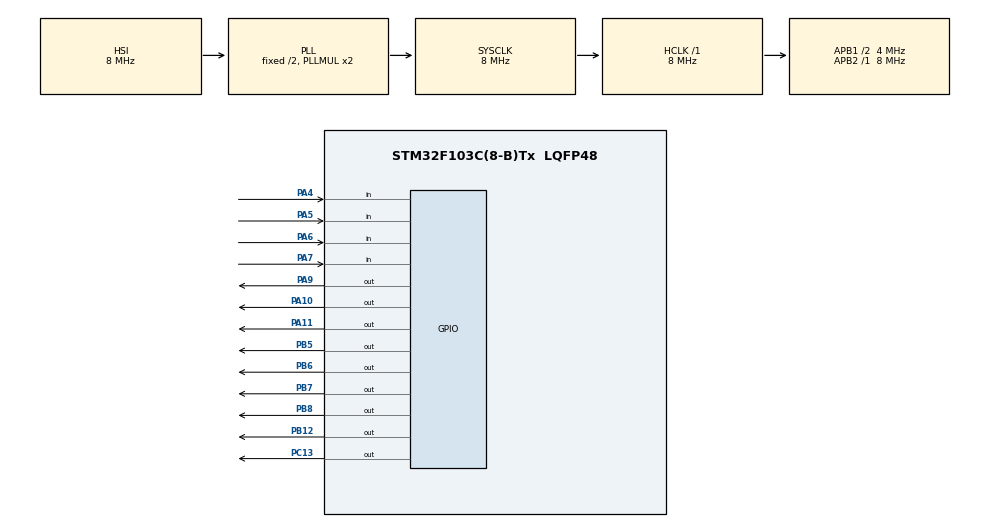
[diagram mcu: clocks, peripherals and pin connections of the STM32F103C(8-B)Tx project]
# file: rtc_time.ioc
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Mcu.Family=STM32F1
Mcu.Name=STM32F103C(8-B)Tx
Mcu.Package=LQFP48
NVIC.PriorityGroup=NVIC_PRIORITYGROUP_4
PA10.Signal=GPIO_Output
PA11.Signal=GPIO_Output
PA13.Mode=Serial_Wire
PA13.Signal=SYS_JTMS-SWDIO
PA14.Mode=Serial_Wire
PA14.Signal=SYS_JTCK-SWCLK
PA4.Signal=GPIO_Input
PA5.Signal=GPIO_Input
PA6.Signal=GPIO_Input
PA7.Signal=GPIO_Input
PA9.Signal=GPIO_Output
PB12.Signal=GPIO_Output
PB5.Signal=GPIO_Output
PB6.Signal=GPIO_Output
PB7.Signal=GPIO_Output
PB8.Signal=GPIO_Output
PC13-TAMPER-RTC.Signal=GPIO_Output
ProjectManager.HeapSize=0x200
ProjectManager.StackSize=0x400
ProjectManager.TargetToolchain=MDK-ARM V5.32
RCC.AHBFreq_Value=8000000
RCC.APB1CLKDivider=RCC_HCLK_DIV2
RCC.APB1Freq_Value=4000000
RCC.APB1TimFreq_Value=8000000
RCC.APB2Freq_Value=8000000
RCC.APB2TimFreq_Value=8000000
RCC.HCLKFreq_Value=8000000
RCC.SYSCLKFreq_VALUE=8000000
RCC.SYSCLKSource=RCC_SYSCLKSOURCE_PLLCLK
RCC.USBFreq_Value=8000000
VP_RTC_VS_RTC_Activate.Mode=RTC_Enabled
VP_RTC_VS_RTC_Calendar.Mode=RTC_Calendar
board=custom

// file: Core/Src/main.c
/* USER CODE BEGIN Header */
/**
  ******************************************************************************
  * @file           : main.c
  * @brief          : Main program body
  ******************************************************************************
  * @attention
  *
  * Copyright (c) 2023 STMicroelectronics.
  * All rights reserved.
  *
  * This software is licensed under terms that can be found in the LICENSE file
  * in the root directory of this software component.
  * If no LICENSE file comes with this software, it is provided AS-IS.
  *
  ******************************************************************************
  */
/* USER CODE END Header */
#include "main.h"

/* USER CODE BEGIN Includes */
#include "lcd_16x2.h"
//#include "string.h"
/* USER CODE END Includes */

RTC_HandleTypeDef hrtc;

/* USER CODE BEGIN PV */
RTC_TimeTypeDef sTime;
RTC_DateTypeDef sDate;
RTC_AlarmTypeDef sAlarm;

/* USER CODE END PV */

void SystemClock_Config(void);
static void MX_GPIO_Init(void);
static void MX_RTC_Init(void);

/* USER CODE BEGIN 0 */
	uint8_t alarm_en = 0;
	uint8_t alarm_hour = 12;
	uint8_t alarm_minute = 0;

/* USER CODE END 0 */

int main(void)
{
  /* USER CODE BEGIN 1 */
	sTime.Hours = 9;
	sTime.Minutes = 30;
	sTime.Seconds = 0;

	sDate.Date = 19;
	sDate.Month = 3;
	sDate.Year = 23;

	uint8_t mode = 0;
	uint8_t sb;
	uint8_t CurrYear = 20;

  /* USER CODE END 1 */

  /* MCU Configuration--------------------------------------------------------*/

  /* Reset of all peripherals, Initializes the Flash interface and the Systick. */
  HAL_Init();

  /* USER CODE BEGIN Init */
	Lcd_Init();
  /* USER CODE END Init */

  /* Configure the system clock */
  SystemClock_Config();

  /* Initialize all configured peripherals */
  MX_GPIO_Init();
  MX_RTC_Init();
  /* USER CODE BEGIN 2 */
	HAL_RTC_SetTime(&hrtc, &sTime, RTC_FORMAT_BIN);
	HAL_RTC_SetDate(&hrtc, &sDate, RTC_FORMAT_BIN);

  /* USER CODE END 2 */

  /* Infinite loop */
  /* USER CODE BEGIN WHILE */
	uint8_t MODE = 0;
	uint8_t UP = 0;
	uint8_t DOWN = 0;
	uint8_t OK = 0;
  while (1)
  {
		MODE = HAL_GPIO_ReadPin(GPIOA, GPIO_PIN_7);
		UP = HAL_GPIO_ReadPin(GPIOA, GPIO_PIN_6);
		DOWN = HAL_GPIO_ReadPin(GPIOA, GPIO_PIN_5);
		OK = HAL_GPIO_ReadPin(GPIOA, GPIO_PIN_4);
		//kiem tra trang thai chan MODE

		if (MODE == 1 && sb==0){ //chon che do
			if (mode == 9){
				mode = 0;
			}
			else {
				mode++;
			}
			sb = 1; //bao co phim nhan
			Lcd_clear_display();
	}
		//che do hien thi thong tin de tai
		if(mode == 0){

			Lcd_gotoxy(0,0);
			Lcd_write_string("DONG HO VAN NIEN");
			Lcd_gotoxy(4,1);
			Lcd_write_string("NHOM 14");
			HAL_Delay(1000);
			sb = 0;
			Lcd_clear_display();
			mode = 1;
		}
    /* USER CODE END WHILE */

    /* USER CODE BEGIN 3 */

		if(mode==1){
			if(alarm_en == 1) Lcd_write_string("*");
			Lcd_gotoxy(4,0);
			HAL_RTC_GetTime(&hrtc, &sTime, RTC_FORMAT_BIN);
			Lcd_write_int(sTime.Hours);
			Lcd_write_string(":");
			Lcd_write_int(sTime.Minutes);
			Lcd_write_string(":");
			Lcd_write_int(sTime.Seconds);
			Lcd_write_string(" ");

			Lcd_gotoxy(0,1);
			switch(sDate.WeekDay){
				case 1: Lcd_write_string("MON");
								break;
				case 2: Lcd_write_string("TUE");
								break;
				case 3: Lcd_write_string("WEN");
								break;
				case 4: Lcd_write_string("THU");
								break;
				case 5: Lcd_write_string("FRI");
								break;
				case 6: Lcd_write_string("SAT");
								break;
				case 0: Lcd_write_string("SUN");
								break;
				}

			Lcd_gotoxy(6,1);
			if(sDate.Date >9) Lcd_write_int(sDate.Date);
			else{
				Lcd_write_int(0);
				Lcd_write_int(sDate.Date);
			}
			Lcd_write_string("-");
			if(sDate.Month >9) Lcd_write_int(sDate.Month);
			else{
				Lcd_write_int(0);
				Lcd_write_int(sDate.Month);
			}
			Lcd_write_string("-");
			Lcd_write_int(CurrYear);
			Lcd_write_int(sDate.Year);
			Lcd_write_string(" ");

			HAL_Delay(100);
			sb = 0;
		}

		//che do chinh gio trong hen gio
		if(mode == 2){
			Lcd_gotoxy(0,0);
			Lcd_write_string("Alarm Hour: ");
			if(alarm_hour < 10){
				Lcd_write_int(0);
				Lcd_write_int(alarm_hour);
			}
			else Lcd_write_int(alarm_hour);
			HAL_Delay(200);
			if (UP == 1 && sb == 0){
				if (alarm_hour == 23) alarm_hour = 0;
				else alarm_hour++;
				sb = 1;
			}
			if (DOWN == 1 && sb == 0){
				if (alarm_hour == 0) alarm_hour = 23;
				else alarm_hour--;
				sb = 1;
			}

			else if(OK == 1 && sb == 0){
				Lcd_clear_display();
				sb = 1;
			}
		}

		//che do chinh phut trong hen gio
		if(mode == 3){
			Lcd_gotoxy(0,0);
			Lcd_write_string("Alarm Minute: ");
			if(alarm_minute < 10){
				Lcd_write_int(0);
				Lcd_write_int(alarm_minute);
			}
			else Lcd_write_int(alarm_minute);
			HAL_Delay(200);
			if (UP == 1 && sb == 0){
				if (alarm_minute == 59) alarm_minute = 0;
				else alarm_minute++;
				sb = 1;
			}
			if (DOWN == 1 && sb == 0){
				if (alarm_minute == 0) alarm_minute = 59;
				else alarm_minute--;
			sb = 1;
			}

			if(OK == 1){
				if(alarm_en == 1) alarm_en = 0;
				else alarm_en = 1;
				Lcd_clear_display();
				mode = 1;
				sb = 1;
			}

		}

		//kiem tra gio bao thuc
		if(alarm_en == 1){
			if(alarm_hour == sTime.Hours && alarm_minute == sTime.Minutes){
			Lcd_clear_display();
			Lcd_gotoxy(3,0);
			Lcd_write_string("WARNING!!!");
			for(uint8_t i = 30; i > 0; i--){
				HAL_GPIO_TogglePin(GPIOB, GPIO_PIN_12);
				HAL_Delay(40);
				HAL_GPIO_TogglePin(GPIOB, GPIO_PIN_12);
				HAL_Delay(20);
				HAL_GPIO_TogglePin(GPIOB, GPIO_PIN_12);
				HAL_Delay(40);
				HAL_GPIO_TogglePin(GPIOB, GPIO_PIN_12);
				HAL_Delay(300);
				if(OK == 1){
					alarm_en = 0;
					Lcd_clear_display();
					sb = 0;
					break;
				}
			}
		}
	}
		if(mode == 4){
			Lcd_gotoxy(0,0);
			Lcd_write_string("Set Hour: ");
			if(sTime.Hours < 10){
				Lcd_write_int(0);
				Lcd_write_int(sTime.Hours);
			}
			else Lcd_write_int(sTime.Hours);
			sb = 0;
			HAL_Delay(100);

			if (UP == 1 && sb == 0){ //Phim UP duoc nhan
				if (sTime.Hours == 23) sTime.Hours = 0;
				else sTime.Hours++;
				HAL_RTC_SetTime(&hrtc, &sTime, RTC_FORMAT_BIN);
				sb = 1;
			}

			if (DOWN == 1 && sb == 0){ //Phim DOWN duoc nhan
				if (sTime.Hours == 0) sTime.Hours = 23;
				else sTime.Hours--;
				HAL_RTC_SetTime(&hrtc, &sTime, RTC_FORMAT_BIN);
				sb = 1;
			}
			if(OK == 1 && sb == 0){
				Lcd_clear_display();
				mode = 1;
			}
		}
		//che do chinh phut
		if(mode == 5){
			Lcd_gotoxy(0,0);
			Lcd_write_string("Set Minutes: ");
			if(sTime.Minutes < 10){
				Lcd_write_int(0);
				Lcd_write_int(sTime.Minutes);
			}
			else Lcd_write_int(sTime.Minutes);
			sb = 0;
			HAL_Delay(200);
			//status_button(MODE, UP, DOWN, OK, sb);

			if (UP == 1 && sb == 0){ //Phim UP duoc nhan
				if (sTime.Minutes == 59) sTime.Minutes = 0;
				else sTime.Minutes++;
				HAL_RTC_SetTime(&hrtc, &sTime, RTC_FORMAT_BIN);
				sb = 1;
			}

			if (DOWN == 1 && sb == 0){ //Phim DOWN duoc nhan
				if (sTime.Minutes == 0) sTime.Minutes = 59;
				else sTime.Minutes--;
				HAL_RTC_SetTime(&hrtc, &sTime, RTC_FORMAT_BIN);
				sb = 1;
			}
			if(OK == 1 && sb == 0){
				Lcd_clear_display();
				mode = 1;
			}
		}
		//che do chinh ngay
		if(mode == 6){
			Lcd_gotoxy(0,0);
			Lcd_write_string("Set Date: ");
			if(sDate.Date < 10){
				Lcd_write_int(0);
				Lcd_write_int(sDate.Date);
			}
			else Lcd_write_int(sDate.Date);
			Lcd_write_string("   ");
			sb = 0;
			HAL_Delay(200);
			//status_button(MODE, UP, DOWN, OK, sb);

			if (UP == 1 && sb == 0){ //Phim UP duoc nhan
				if (sDate.Date == 32) sDate.Date = 1;
				else sDate.Date++;
				HAL_RTC_SetDate(&hrtc, &sDate, RTC_FORMAT_BIN);
				sb = 1;
			}

			if (DOWN == 1 && sb == 0){ //Phim DOWN duoc nhan
				if (sDate.Date == 0) sDate.Date = 31;
				else sDate.Date--;
				HAL_RTC_SetDate(&hrtc, &sDate, RTC_FORMAT_BIN);
				sb = 1;
			}
			if(OK == 1 && sb == 0){
				Lcd_clear_display();
				mode = 1;
			}
		}

		//che do chinh thang
		if(mode == 7){
			Lcd_gotoxy(0,0);
			Lcd_write_string("Set Month: ");
			if(sDate.Month < 10){
				Lcd_write_int(0);
				Lcd_write_int(sDate.Month);
			}
			else Lcd_write_int(sDate.Month);
			sb = 0;
			HAL_Delay(200);
			//status_button(MODE, UP, DOWN, OK, sb);

			if (UP == 1 && sb == 0){ //Phim UP duoc nhan
				if (sDate.Month == 12) sDate.Month = 1;
				else sDate.Month++;
				HAL_RTC_SetDate(&hrtc, &sDate, RTC_FORMAT_BIN);
				sb = 1;
			}

			if (DOWN == 1 && sb == 0){ //Phim DOWN duoc nhan
				if (sDate.Month == 1) sDate.Month = 12;
				else sDate.Month--;
				HAL_RTC_SetDate(&hrtc, &sDate, RTC_FORMAT_BIN);
				sb = 1;
			}
			if(OK == 1 && sb == 0){
				Lcd_clear_display();
				mode = 1;
			}
		}

		//CHE DO CHINH NAM
		if(mode == 8){
			Lcd_gotoxy(0,0);
			Lcd_write_string("Set Year: ");
			Lcd_write_int(sDate.Year);
			sb = 0;
			HAL_Delay(200);
			//status_button(MODE, UP, DOWN, OK, sb);

			if (UP == 1 && sb == 0){ //Phim UP duoc nhan
				if (sDate.Year == 99){
					sDate.Year = 0;
					CurrYear++;
				}
				else sDate.Year++;
				HAL_RTC_SetDate(&hrtc, &sDate, RTC_FORMAT_BIN);
				sb = 1;
			}

			if (DOWN == 1 && sb == 0){ //Phim DOWN duoc nhan
				if (sDate.Year == 0){
					sDate.Year = 99;
					CurrYear--;
				}
				else sDate.Year--;
				HAL_RTC_SetDate(&hrtc, &sDate, RTC_FORMAT_BIN);
				sb = 1;
			}
			if(OK == 1 && sb == 0){
				Lcd_clear_display();
				mode = 1;
			}
		}
		sb = 0;
	}
  /* USER CODE END 3 */
}

void SystemClock_Config(void)
{
  RCC_OscInitTypeDef RCC_OscInitStruct = {0};
  RCC_ClkInitTypeDef RCC_ClkInitStruct = {0};
  RCC_PeriphCLKInitTypeDef PeriphClkInit = {0};

  /** Initializes the RCC Oscillators according to the specified parameters
  * in the RCC_OscInitTypeDef structure.
  */
  RCC_OscInitStruct.OscillatorType = RCC_OSCILLATORTYPE_HSI|RCC_OSCILLATORTYPE_LSI;
  RCC_OscInitStruct.HSIState = RCC_HSI_ON;
  RCC_OscInitStruct.HSICalibrationValue = RCC_HSICALIBRATION_DEFAULT;
  RCC_OscInitStruct.LSIState = RCC_LSI_ON;
  RCC_OscInitStruct.PLL.PLLState = RCC_PLL_ON;
  RCC_OscInitStruct.PLL.PLLSource = RCC_PLLSOURCE_HSI_DIV2;
  RCC_OscInitStruct.PLL.PLLMUL = RCC_PLL_MUL2;
  if (HAL_RCC_OscConfig(&RCC_OscInitStruct) != HAL_OK)
  {
    Error_Handler();
  }

  /** Initializes the CPU, AHB and APB buses clocks
  */
  RCC_ClkInitStruct.ClockType = RCC_CLOCKTYPE_HCLK|RCC_CLOCKTYPE_SYSCLK
                              |RCC_CLOCKTYPE_PCLK1|RCC_CLOCKTYPE_PCLK2;
  RCC_ClkInitStruct.SYSCLKSource = RCC_SYSCLKSOURCE_PLLCLK;
  RCC_ClkInitStruct.AHBCLKDivider = RCC_SYSCLK_DIV1;
  RCC_ClkInitStruct.APB1CLKDivider = RCC_HCLK_DIV2;
  RCC_ClkInitStruct.APB2CLKDivider = RCC_HCLK_DIV1;

  if (HAL_RCC_ClockConfig(&RCC_ClkInitStruct, FLASH_LATENCY_0) != HAL_OK)
  {
    Error_Handler();
  }
  PeriphClkInit.PeriphClockSelection = RCC_PERIPHCLK_RTC;
  PeriphClkInit.RTCClockSelection = RCC_RTCCLKSOURCE_LSI;
  if (HAL_RCCEx_PeriphCLKConfig(&PeriphClkInit) != HAL_OK)
  {
    Error_Handler();
  }
}

static void MX_RTC_Init(void)
{

  RTC_TimeTypeDef sTime = {0};
  RTC_DateTypeDef DateToUpdate = {0};

  /** Initialize RTC Only
  */
  hrtc.Instance = RTC;
  hrtc.Init.AsynchPrediv = RTC_AUTO_1_SECOND;
  hrtc.Init.OutPut = RTC_OUTPUTSOURCE_ALARM;
  if (HAL_RTC_Init(&hrtc) != HAL_OK)
  {
    Error_Handler();
  }

  /** Initialize RTC and set the Time and Date
  */
  sTime.Hours = 0x0;
  sTime.Minutes = 0x0;
  sTime.Seconds = 0x0;

  if (HAL_RTC_SetTime(&hrtc, &sTime, RTC_FORMAT_BCD) != HAL_OK)
  {
    Error_Handler();
  }
  DateToUpdate.WeekDay = RTC_WEEKDAY_MONDAY;
  DateToUpdate.Month = RTC_MONTH_JANUARY;
  DateToUpdate.Date = 0x1;
  DateToUpdate.Year = 0x0;

  if (HAL_RTC_SetDate(&hrtc, &DateToUpdate, RTC_FORMAT_BCD) != HAL_OK)
  {
    Error_Handler();
  }

}

static void MX_GPIO_Init(void)
{
  GPIO_InitTypeDef GPIO_InitStruct = {0};

  /* GPIO Ports Clock Enable */
  __HAL_RCC_GPIOC_CLK_ENABLE();
  __HAL_RCC_GPIOA_CLK_ENABLE();
  __HAL_RCC_GPIOB_CLK_ENABLE();

  /*Configure GPIO pin Output Level */
  HAL_GPIO_WritePin(GPIOC, GPIO_PIN_13, GPIO_PIN_RESET);

  /*Configure GPIO pin Output Level */
  HAL_GPIO_WritePin(GPIOB, GPIO_PIN_12|GPIO_PIN_5|GPIO_PIN_6|GPIO_PIN_7
                          |GPIO_PIN_8, GPIO_PIN_RESET);

  /*Configure GPIO pin Output Level */
  HAL_GPIO_WritePin(GPIOA, GPIO_PIN_9|GPIO_PIN_10|GPIO_PIN_11, GPIO_PIN_RESET);

  /*Configure GPIO pin : PC13 */
  GPIO_InitStruct.Pin = GPIO_PIN_13;
  GPIO_InitStruct.Mode = GPIO_MODE_OUTPUT_PP;
  GPIO_InitStruct.Pull = GPIO_NOPULL;
  GPIO_InitStruct.Speed = GPIO_SPEED_FREQ_LOW;
  HAL_GPIO_Init(GPIOC, &GPIO_InitStruct);

  /*Configure GPIO pins : PA4 PA5 PA6 PA7 */
  GPIO_InitStruct.Pin = GPIO_PIN_4|GPIO_PIN_5|GPIO_PIN_6|GPIO_PIN_7;
  GPIO_InitStruct.Mode = GPIO_MODE_INPUT;
  GPIO_InitStruct.Pull = GPIO_NOPULL;
  HAL_GPIO_Init(GPIOA, &GPIO_InitStruct);

  /*Configure GPIO pins : PB12 PB5 PB6 PB7
                           PB8 */
  GPIO_InitStruct.Pin = GPIO_PIN_12|GPIO_PIN_5|GPIO_PIN_6|GPIO_PIN_7
                          |GPIO_PIN_8;
  GPIO_InitStruct.Mode = GPIO_MODE_OUTPUT_PP;
  GPIO_InitStruct.Pull = GPIO_NOPULL;
  GPIO_InitStruct.Speed = GPIO_SPEED_FREQ_LOW;
  HAL_GPIO_Init(GPIOB, &GPIO_InitStruct);

  /*Configure GPIO pins : PA9 PA10 PA11 */
  GPIO_InitStruct.Pin = GPIO_PIN_9|GPIO_PIN_10|GPIO_PIN_11;
  GPIO_InitStruct.Mode = GPIO_MODE_OUTPUT_PP;
  GPIO_InitStruct.Pull = GPIO_NOPULL;
  GPIO_InitStruct.Speed = GPIO_SPEED_FREQ_LOW;
  HAL_GPIO_Init(GPIOA, &GPIO_InitStruct);

}

void Error_Handler(void)
{
  __disable_irq();
  while (1)
  {
  }
}
